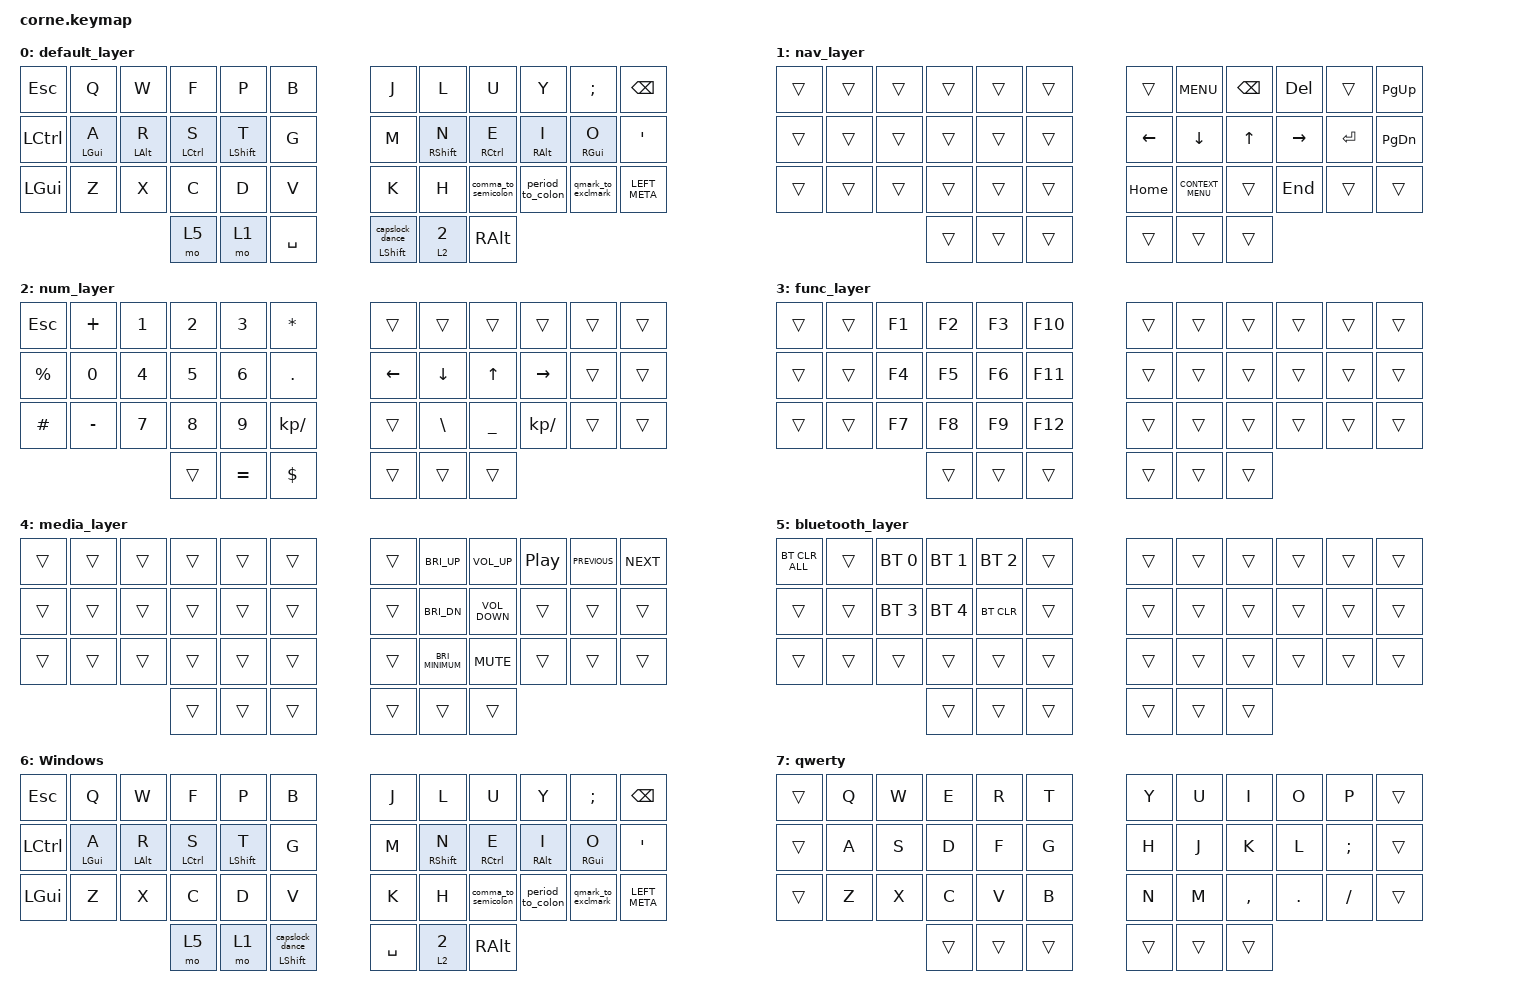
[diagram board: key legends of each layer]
/*
 * Copyright (c) 2020 The ZMK Contributors
 *
 * SPDX-License-Identifier: MIT
 */

#include <behaviors.dtsi>
#include <dt-bindings/zmk/bt.h>
#include <dt-bindings/zmk/keys.h>

/ {
    combos {
        compatible = "zmk,combos";

        copy {
            bindings = <&kp LG(C)>;
            key-positions = <26 27>;
            layers = <0>;
        };

        paste {
            bindings = <&kp LG(V)>;
            key-positions = <27 28>;
            layers = <0>;
        };

        cut {
            bindings = <&kp LG(X)>;
            key-positions = <28 26>;
            layers = <0>;
        };

        print_screen {
            bindings = <&kp PRINTSCREEN>;
            key-positions = <29 25>;
            layers = <0 6>;
        };

        forwardslash_backslash {
            bindings = <&forwardslash_backslash>;
            key-positions = <32 33>;
            layers = <0 6>;
            timeout-ms = <60>;
        };

        enter {
            bindings = <&kp ENTER>;
            key-positions = <21 20>;
            layers = <0 1 2 3 4 5 7 6>;
            require-prior-idle-ms = <150>;
        };

        pipe {
            bindings = <&kp PIPE>;
            key-positions = <32 20>;
            layers = <0 6>;
        };

        at_sign {
            bindings = <&kp AT_SIGN>;
            key-positions = <2 14>;
            layers = <0 6>;
        };

        hash {
            bindings = <&kp HASH>;
            key-positions = <3 15>;
            layers = <0 6>;
        };

        grave_tilde {
            bindings = <&kp GRAVE>;
            key-positions = <4 16>;
            layers = <0 6>;
        };

        escape {
            bindings = <&kp ESCAPE>;
            key-positions = <2 3>;
            layers = <0 1 2 3 4 5 7 6>;
        };

        tab {
            bindings = <&kp TAB>;
            key-positions = <14 15>;
            layers = <0 6>;
            require-prior-idle-ms = <150>;
        };

        backspace {
            bindings = <&kp BACKSPACE>;
            key-positions = <8 9>;
            layers = <0 2 7 6>;
        };

        delete {
            bindings = <&kp DELETE>;
            key-positions = <7 8>;
            layers = <0 2 7 6>;
        };

        trigger_func_layer {
            bindings = <&mo 3>;
            key-positions = <40 8>;
            layers = <0 6>;
        };

        media_layer_trigger {
            bindings = <&mo 4>;
            key-positions = <3 37>;
            layers = <0 6>;
        };

        left_parenthesis_less_than {
            bindings = <&left_parenthesis_less_than>;
            key-positions = <19 31>;
            layers = <0 6>;
        };

        right_parenthesis_greater_than {
            bindings = <&right_parenthesis_greater_than>;
            key-positions = <21 33>;
            layers = <0 6>;
        };

        left_bracket_left_brace {
            bindings = <&left_bracket_left_brace>;
            key-positions = <7 19>;
            layers = <0 6>;
        };

        right_bracket_right_brace {
            bindings = <&right_bracket_right_brace>;
            key-positions = <9 21>;
            layers = <0 6>;
        };

        ampersand_caret {
            bindings = <&ampersand_caret>;
            key-positions = <8 20>;
            layers = <0 6>;
        };

        underscore {
            bindings = <&kp UNDERSCORE>;
            key-positions = <31 33>;
            layers = <0 6>;
            timeout-ms = <60>;
        };

        toggle_qwerty {
            bindings = <&to 7>;
            key-positions = <36 41 1>;
        };

        windows_copy {
            bindings = <&kp LC(C)>;
            key-positions = <26 27>;
            layers = <6>;
        };

        windows_paste {
            bindings = <&kp LC(V)>;
            key-positions = <27 28>;
            layers = <6>;
        };

        windows_cut {
            bindings = <&kp LC(X)>;
            key-positions = <28 26>;
            layers = <6>;
        };

        toggle_windows {
            bindings = <&to 6>;
            key-positions = <36 41 2>;
        };

        to_default_layer {
            bindings = <&to 0>;
            key-positions = <36 41>;
        };

        backslash {
            bindings = <&kp BACKSLASH>;
            key-positions = <31 32>;
            timeout-ms = <60>;
        };
    };

    behaviors {
        qmark_to_exclmark: qmark_to_exclmark {
            compatible = "zmk,behavior-mod-morph";
            label = "QMARK_TO_EXCLMARK";
            bindings = <&kp QUESTION>, <&kp EXCLAMATION>;

            #binding-cells = <0>;
            mods = <(MOD_LSFT|MOD_RSFT)>;
        };

        comma_to_semicolon: comma_to_semicolon {
            compatible = "zmk,behavior-mod-morph";
            label = "COMMA_TO_SEMICOLON";
            bindings = <&kp COMMA>, <&kp SEMICOLON>;

            #binding-cells = <0>;
            mods = <(MOD_LSFT|MOD_RSFT)>;
        };

        period_to_colon: period_to_colon {
            compatible = "zmk,behavior-mod-morph";
            label = "PERIOD_TO_COLON";
            bindings = <&kp PERIOD>, <&kp COLON>;

            #binding-cells = <0>;
            mods = <(MOD_LSFT|MOD_RSFT)>;
        };

        smart_num_trigger: smart_num_trigger {
            compatible = "zmk,behavior-hold-tap";
            label = "SMART_NUM_TRIGGER";
            bindings = <&mo>, <&num_dance>;

            #binding-cells = <2>;
            tapping-term-ms = <200>;
            flavor = "balanced";
            quick-tap-ms = <175>;
        };

        num_dance: num_dance {
            compatible = "zmk,behavior-tap-dance";
            label = "NUM_DANCE";
            #binding-cells = <0>;
            bindings = <&none>, <&tog 2>;

            tapping-term-ms = <200>;
        };

        capslock_dance: capslock_dance {
            compatible = "zmk,behavior-tap-dance";
            label = "CAPSLOCK_DANCE";
            #binding-cells = <0>;
            bindings = <&none>, <&caps_word>;

            tapping-term-ms = <200>;
        };

        smart_shift: smart_shift {
            compatible = "zmk,behavior-hold-tap";
            label = "SMART_SHIFT";
            bindings = <&kp>, <&capslock_dance>;

            #binding-cells = <2>;
            tapping-term-ms = <200>;
            flavor = "balanced";
            quick-tap-ms = <175>;
        };

        hrm_left: hrm_left {
            compatible = "zmk,behavior-hold-tap";
            label = "HRM_LEFT";
            bindings = <&kp>, <&kp>;

            #binding-cells = <2>;
            tapping-term-ms = <280>;
            quick-tap-ms = <175>;
            require-prior-idle-ms = <150>;
            hold-trigger-on-release;
            hold-trigger-key-positions = <36 37 38 39 40 41 6 7 8 9 10 18 6 7 9 10 11 18 19 20 21 22 23 32 30 31 32 33 34 35>;
            flavor = "balanced";
        };

        hrm_right: hrm_right {
            compatible = "zmk,behavior-hold-tap";
            label = "HRM_RIGHT";
            bindings = <&kp>, <&kp>;

            #binding-cells = <2>;
            tapping-term-ms = <280>;
            quick-tap-ms = <175>;
            require-prior-idle-ms = <150>;
            flavor = "balanced";
            hold-trigger-on-release;
            hold-trigger-key-positions = <36 37 38 39 40 41 0 1 2 3 4 5 12 13 14 15 16 17 24 25 26 27 28 29>;
        };

        num_word: num_word {
            compatible = "zmk,behavior-caps-word";
            label = "NUM_WORD";
            #binding-cells = <0>;
            continue-list = <BACKSPACE DELETE DOT COMMA>;
        };

        left_parenthesis_less_than: left_parenthesis_less_than {
            compatible = "zmk,behavior-mod-morph";
            label = "LEFT_PARENTHESIS_LESS_THAN";
            bindings = <&kp LEFT_PARENTHESIS>, <&kp LESS_THAN>;

            #binding-cells = <0>;
            mods = <(MOD_LSFT|MOD_RSFT)>;
        };

        right_parenthesis_greater_than: right_parenthesis_greater_than {
            compatible = "zmk,behavior-mod-morph";
            label = "RIGHT_PARENTHESIS_GREATER_THAN";
            bindings = <&kp RIGHT_PARENTHESIS>, <&kp GREATER_THAN>;

            #binding-cells = <0>;
            mods = <(MOD_LSFT|MOD_RSFT)>;
        };

        left_bracket_left_brace: left_bracket_left_brace {
            compatible = "zmk,behavior-mod-morph";
            label = "LEFT_BRACKET_LEFT_BRACE";
            bindings = <&kp LEFT_BRACKET>, <&kp LEFT_BRACE>;

            #binding-cells = <0>;
            mods = <(MOD_LSFT|MOD_RSFT)>;
        };

        right_bracket_right_brace: right_bracket_right_brace {
            compatible = "zmk,behavior-mod-morph";
            label = "RIGHT_BRACKET_RIGHT_BRACE";
            bindings = <&kp RIGHT_BRACKET>, <&kp RIGHT_BRACE>;

            #binding-cells = <0>;
            mods = <(MOD_LSFT|MOD_RSFT)>;
        };

        tilde_tick: tilde_tick {
            compatible = "zmk,behavior-mod-morph";
            label = "TILDE_TICK";
            bindings = <&kp TILDE>, <&kp GRAVE>;

            #binding-cells = <0>;
            mods = <(MOD_LSFT|MOD_RSFT)>;
        };

        ampersand_caret: ampersand_caret {
            compatible = "zmk,behavior-mod-morph";
            label = "AMPERSAND_CARET";
            bindings = <&kp AMPERSAND>, <&kp CARET>;

            #binding-cells = <0>;
            mods = <(MOD_LSFT|MOD_RSFT)>;
        };

        forwardslash_backslash: forwardslash_backslash {
            compatible = "zmk,behavior-mod-morph";
            label = "FORWARDSLASH_BACKSLASH";
            bindings = <&kp SLASH>, <&cleared_backslash>;

            #binding-cells = <0>;
            mods = <(MOD_LSFT|MOD_RSFT)>;
        };

        cleared_backslash: cleared_backslash {
            compatible = "zmk,behavior-mod-morph";
            label = "CLEARED_BACKSLASH";
            bindings = <&kp BACKSLASH>, <&none>;

            #binding-cells = <0>;
            mods = <0>; /* No mods! */
        };
    };

    keymap {
        compatible = "zmk,keymap";

        default_layer {
            // -----------------------------------------------------------------------------------------
            // |  TAB |  Q  |  W  |  E  |  R  |  T  |   |  Y  |  U   |  I  |  O  |  P  | BKSP |
            // | CTRL |  A  |  S  |  D  |  F  |  G  |   |  H  |  J   |  K  |  L  |  ;  |  '   |
            // | SHFT |  Z  |  X  |  C  |  V  |  B  |   |  N  |  M   |  ,  |  .  |  /  | ESC  |
            //                    | GUI | LWR | SPC |   | ENT | RSE  | ALT |

            bindings = <
&kp ESCAPE    &kp Q                 &kp W                 &kp F              &kp P                   &kp B        &kp J                      &kp L                     &kp U                &kp Y                   &kp SEMICOLON           &kp BSPC
&kp LCTRL     &hrm_left LEFT_GUI A  &hrm_left LEFT_ALT R  &hrm_left LCTRL S  &hrm_left LEFT_SHIFT T  &kp G        &kp M                      &hrm_right RIGHT_SHIFT N  &hrm_right RCTRL E   &hrm_right RIGHT_ALT I  &hrm_right RIGHT_GUI O  &kp SQT
&kp LEFT_GUI  &kp Z                 &kp X                 &kp C              &kp D                   &kp V        &kp K                      &kp H                     &comma_to_semicolon  &period_to_colon        &qmark_to_exclmark      &kp LEFT_META
                                                          &mo 5              &mo 1                   &kp SPACE    &smart_shift LEFT_SHIFT 0  &smart_num_trigger 2 2    &kp RIGHT_ALT
            >;
        };

        nav_layer {
            // -----------------------------------------------------------------------------------------
            // |  TAB |  1  |  2  |  3  |  4  |  5  |   |  6  |  7  |  8  |  9  |  0  | BKSP |
            // | BTCLR| BT1 | BT2 | BT3 | BT4 | BT5 |   | LFT | DWN |  UP | RGT |     |      |
            // | SHFT |     |     |     |     |     |   |     |     |     |     |     |      |
            //                    | GUI |     | SPC |   | ENT |     | ALT |

            bindings = <
&trans  &trans  &trans  &trans  &trans  &trans    &trans    &kp K_MENU          &kp BACKSPACE  &kp DELETE  &trans      &kp PAGE_UP
&trans  &trans  &trans  &trans  &trans  &trans    &kp LEFT  &kp DOWN            &kp UP         &kp RIGHT   &kp RETURN  &kp PAGE_DOWN
&trans  &trans  &trans  &trans  &trans  &trans    &kp HOME  &kp K_CONTEXT_MENU  &trans         &kp END     &trans      &trans
                        &trans  &trans  &trans    &trans    &trans              &trans
            >;
        };

        num_layer {
            bindings = <
&kp ESC      &kp PLUS   &kp NUMBER_1  &kp NUMBER_2  &kp NUMBER_3  &kp ASTERISK     &trans    &trans         &trans          &trans        &trans  &trans
&kp PERCENT  &kp N0     &kp N4        &kp N5        &kp N6        &kp PERIOD       &kp LEFT  &kp DOWN       &kp UP_ARROW    &kp RIGHT     &trans  &trans
&kp HASH     &kp MINUS  &kp N7        &kp N8        &kp N9        &kp KP_DIVIDE    &trans    &kp BACKSLASH  &kp UNDERSCORE  &kp KP_SLASH  &trans  &trans
                                      &trans        &kp EQUAL     &kp DOLLAR       &trans    &trans         &trans
            >;
        };

        func_layer {
            bindings = <
&trans  &trans  &kp F1  &kp F2  &kp F3  &kp F10    &trans  &trans  &trans  &trans  &trans  &trans
&trans  &trans  &kp F4  &kp F5  &kp F6  &kp F11    &trans  &trans  &trans  &trans  &trans  &trans
&trans  &trans  &kp F7  &kp F8  &kp F9  &kp F12    &trans  &trans  &trans  &trans  &trans  &trans
                        &trans  &trans  &trans     &trans  &trans  &trans
            >;
        };

        media_layer {
            bindings = <
&trans  &trans  &trans  &trans  &trans  &trans    &trans  &kp C_BRI_UP              &kp C_VOLUME_UP    &kp C_PP  &kp C_PREVIOUS  &kp C_NEXT
&trans  &trans  &trans  &trans  &trans  &trans    &trans  &kp C_BRI_DN              &kp C_VOLUME_DOWN  &trans    &trans          &trans
&trans  &trans  &trans  &trans  &trans  &trans    &trans  &kp C_BRIGHTNESS_MINIMUM  &kp C_MUTE         &trans    &trans          &trans
                        &trans  &trans  &trans    &trans  &trans                    &trans
            >;
        };

        bluetooth_layer {
            bindings = <
&bt BT_CLR_ALL  &trans  &bt BT_SEL 0  &bt BT_SEL 1  &bt BT_SEL 2  &trans    &trans  &trans  &trans  &trans  &trans  &trans
&trans          &trans  &bt BT_SEL 3  &bt BT_SEL 4  &bt BT_CLR    &trans    &trans  &trans  &trans  &trans  &trans  &trans
&trans          &trans  &trans        &trans        &trans        &trans    &trans  &trans  &trans  &trans  &trans  &trans
                                      &trans        &trans        &trans    &trans  &trans  &trans
            >;
        };

        Windows {
            bindings = <
&kp ESCAPE    &kp Q                 &kp W                 &kp F              &kp P                   &kp B                        &kp J      &kp L                     &kp U                &kp Y                   &kp SEMICOLON           &kp BSPC
&kp LCTRL     &hrm_left LEFT_GUI A  &hrm_left LEFT_ALT R  &hrm_left LCTRL S  &hrm_left LEFT_SHIFT T  &kp G                        &kp M      &hrm_right RIGHT_SHIFT N  &hrm_right RCTRL E   &hrm_right RIGHT_ALT I  &hrm_right RIGHT_GUI O  &kp SQT
&kp LEFT_GUI  &kp Z                 &kp X                 &kp C              &kp D                   &kp V                        &kp K      &kp H                     &comma_to_semicolon  &period_to_colon        &qmark_to_exclmark      &kp LEFT_META
                                                          &mo 5              &mo 1                   &smart_shift LEFT_SHIFT 0    &kp SPACE  &smart_num_trigger 2 2    &kp RIGHT_ALT
            >;
        };

        qwerty {
            bindings = <
&trans  &kp Q  &kp W  &kp E   &kp R   &kp T     &kp Y   &kp U   &kp I      &kp O    &kp P     &trans
&trans  &kp A  &kp S  &kp D   &kp F   &kp G     &kp H   &kp J   &kp K      &kp L    &kp SEMI  &trans
&trans  &kp Z  &kp X  &kp C   &kp V   &kp B     &kp N   &kp M   &kp COMMA  &kp DOT  &kp FSLH  &trans
                      &trans  &trans  &trans    &trans  &trans  &trans
            >;
        };
    };
};
